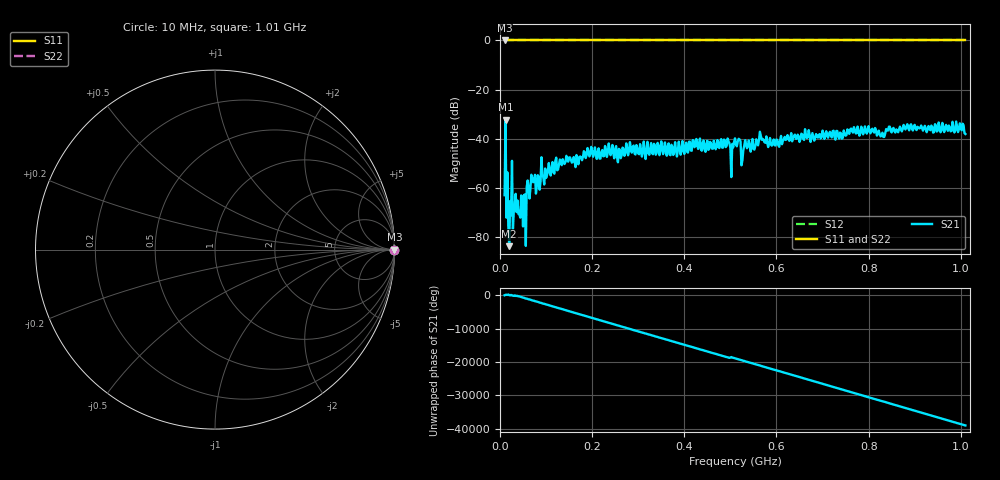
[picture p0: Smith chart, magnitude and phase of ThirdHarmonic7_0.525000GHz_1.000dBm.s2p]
! 8/17/2025 3:30:25 PM
! C:\ANRITSUVNA\TEMP\TEMP.S2P
! CHANNEL.1
! TR.MEASUREMENT
! RAW.DATA
! RF.CORRECTION.OFF
! AVERAGING.OFF
! IF.BANDWIDTH: 5KHZ
! SWEEPTYPE:  FREQ.SWEEP(Linear)
! Reference Plane Port Info
! PORT:  PORT1  PORT2
! DISTANCE:  0  m  0  m
! TIME:  0  s  0  s
! PHASE.OFFSET:  0  deg.  0  deg.
! LOSS:  0  dB  0  dB
! REF.LOSS:  0  dB  0  dB
! REF.FREQ:  0  Hz  0  Hz
! Power Info
! POWER:  -20  dBm  -20  dBm
! EFF.POWER:  -20  dBm  -20  dBm
! SOURCE.ATTEN:  0  dB  0  dB
! TEST.ATTEN:  0  dB  0  dB
# GHZ S RI R 50.0
! FREQ.GHZ  S11RE  S11IM  S21RE  S21IM  S12RE  S12IM  S22RE  S22IM
!; PortSelection: Port_12
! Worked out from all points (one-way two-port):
!   501 points, 10 MHz to 1.01 GHz, reference 50 ohm
!   highest |S21| = -32.18 dB at 12 MHz (marker M1); lowest = -83.7 dB at 20 MHz (marker M2)
!   lowest |S11| = 0.0 dB at 10 MHz (marker M3)
!   |S11| at or under -10 dB: nowhere
!   |S22| runs from 0.0 to 0.0 dB; largest |S21 - S12| = 1
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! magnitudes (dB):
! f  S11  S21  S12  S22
! 10 MHz  0.0  -63.0  0.0  0.0
! 12 MHz  0.0  -32.2  0.0  0.0
! 18 MHz  0.0  -75.2  0.0  0.0
! 20 MHz  0.0  -83.7  0.0  0.0
! 30 MHz  0.0  -69.3  0.0  0.0
! 32 MHz  0.0  -67.4  0.0  0.0
! 50 MHz  0.0  -75.7  0.0  0.0
! 52 MHz  0.0  -62.9  0.0  0.0
! 72 MHz  0.0  -57.7  0.0  0.0
! 82 MHz  0.0  -54.8  0.0  0.0
! 118 MHz  0.0  -54.2  0.0  0.0
! 178 MHz  0.0  -48.7  0.0  0.0
! 344 MHz  0.0  -42.8  0.0  0.0
! 490 MHz  0.0  -43.4  0.0  0.0
! 502 MHz  0.0  -55.6  0.0  0.0
! 510 MHz  0.0  -39.8  0.0  0.0
! 518 MHz  0.0  -40.0  0.0  0.0
! 526 MHz  0.0  -48.8  0.0  0.0
! 566 MHz  0.0  -38.8  0.0  0.0
! 678 MHz  0.0  -37.7  0.0  0.0
! 844 MHz  0.0  -35.1  0.0  0.0
! 1.01 GHz  0.0  -38.1  0.0  0.0
